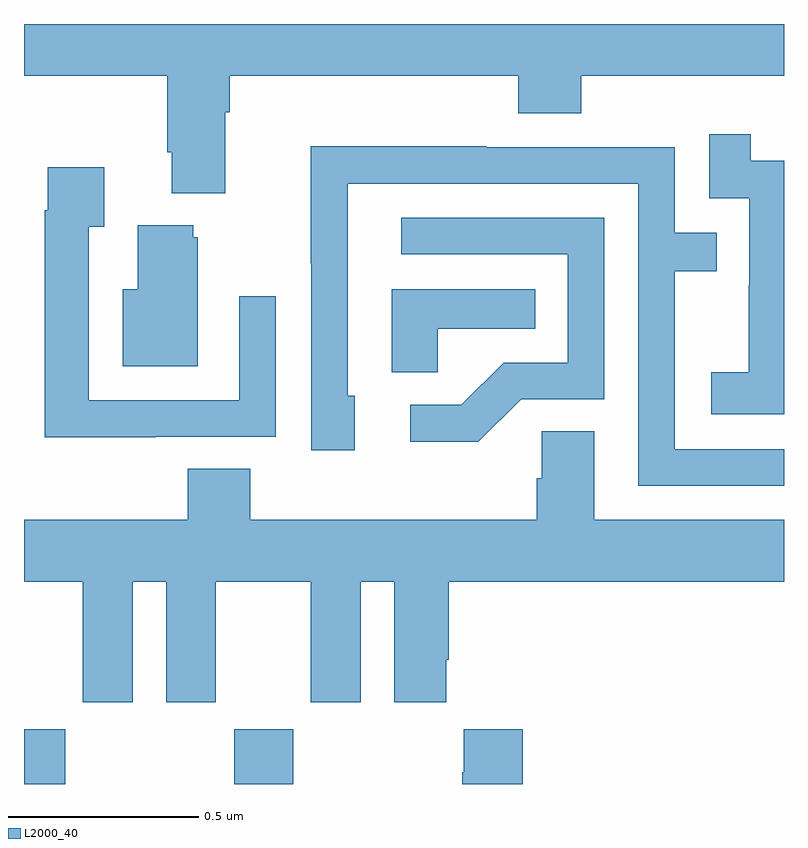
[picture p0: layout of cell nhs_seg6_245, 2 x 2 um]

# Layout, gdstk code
import gdstk
lib = gdstk.Library(unit=1e-6, precision=1e-09)
def R(c, l, rs):  # rectangles x0, y0, x1, y1
    for r in rs: c.add(gdstk.rectangle(r[:2], r[2:], *l))
def P(c, l, *ps):  # polygons
    for p in ps: c.add(gdstk.Polygon(p, *l))
L2000_40 = (2000, 40)

nhs_seg6_245 = lib.new_cell('nhs_seg6_245')
R(nhs_seg6_245, L2000_40, [(114,917.5,114.108,917.644), (114.553,917.5,114.708,917.644)])
P(nhs_seg6_245, L2000_40, [(114.529,919.268),(114.542,919.268),(114.542,919.364),(115.301,919.364),(115.301,919.265),(115.466,919.265),(115.466,919.364),(116,919.364),(116,919.5),(114,919.5),(114,919.364),(114.377,919.364),(114.377,919.162),(114.389,919.162),(114.389,919.055),(114.529,919.055)],
  [(116,919.14),(115.912,919.14),(115.912,919.21),(115.803,919.21),(115.803,919.041),(115.908,919.041),(115.908,918.812),(115.907,918.812),(115.907,918.583),(115.809,918.583),(115.809,918.473),(116,918.473)],
  [(116,918.381),(115.713,918.381),(115.713,918.85),(115.823,918.85),(115.823,918.951),(115.713,918.951),(115.713,919.176),(115.217,919.176),(115.217,919.178),(114.754,919.178),(114.754,918.871),(114.756,918.871),(114.756,918.378),(114.871,918.378),(114.871,918.522),(114.852,918.522),(114.852,919.08),(115.617,919.08),(115.617,918.285),(116,918.285)],
  [(114.347,918.414),(114.663,918.414),(114.663,918.784),(114.567,918.784),(114.567,918.51),(114.171,918.51),(114.171,918.967),(114.211,918.967),(114.211,919.123),(114.063,919.123),(114.063,919.01),(114.055,919.01),(114.055,918.413),(114.347,918.413)],
  [(115.308,918.513),(115.527,918.513),(115.527,918.99),(114.993,918.99),(114.993,918.894),(115.431,918.894),(115.431,918.609),(115.262,918.609),(115.151,918.498),(115.017,918.498),(115.017,918.401),(115.195,918.401)],
  [(114.457,918.939),(114.446,918.939),(114.446,918.97),(114.299,918.97),(114.299,918.802),(114.26,918.802),(114.26,918.599),(114.457,918.599)],
  [(115.089,918.698),(115.346,918.698),(115.346,918.802),(114.968,918.802),(114.968,918.583),(115.089,918.583)],
  [(114.286,918.032),(114.374,918.032),(114.374,917.715),(114.505,917.715),(114.505,918.032),(114.755,918.032),(114.755,917.715),(114.886,917.715),(114.886,918.032),(114.974,918.032),(114.974,917.715),(115.111,917.715),(115.111,917.827),(115.118,917.827),(115.118,918.032),(116,918.032),(116,918.196),(115.501,918.196),(115.501,918.428),(115.362,918.428),(115.362,918.305),(115.349,918.305),(115.349,918.196),(114.596,918.196),(114.596,918.329),(114.431,918.329),(114.431,918.196),(114,918.196),(114,918.032),(114.155,918.032),(114.155,917.715),(114.286,917.715)],
  [(115.313,917.644),(115.157,917.644),(115.157,917.531),(115.153,917.531),(115.153,917.5),(115.313,917.5)])

lib.write_gds('nhs_seg6_245.gds')
